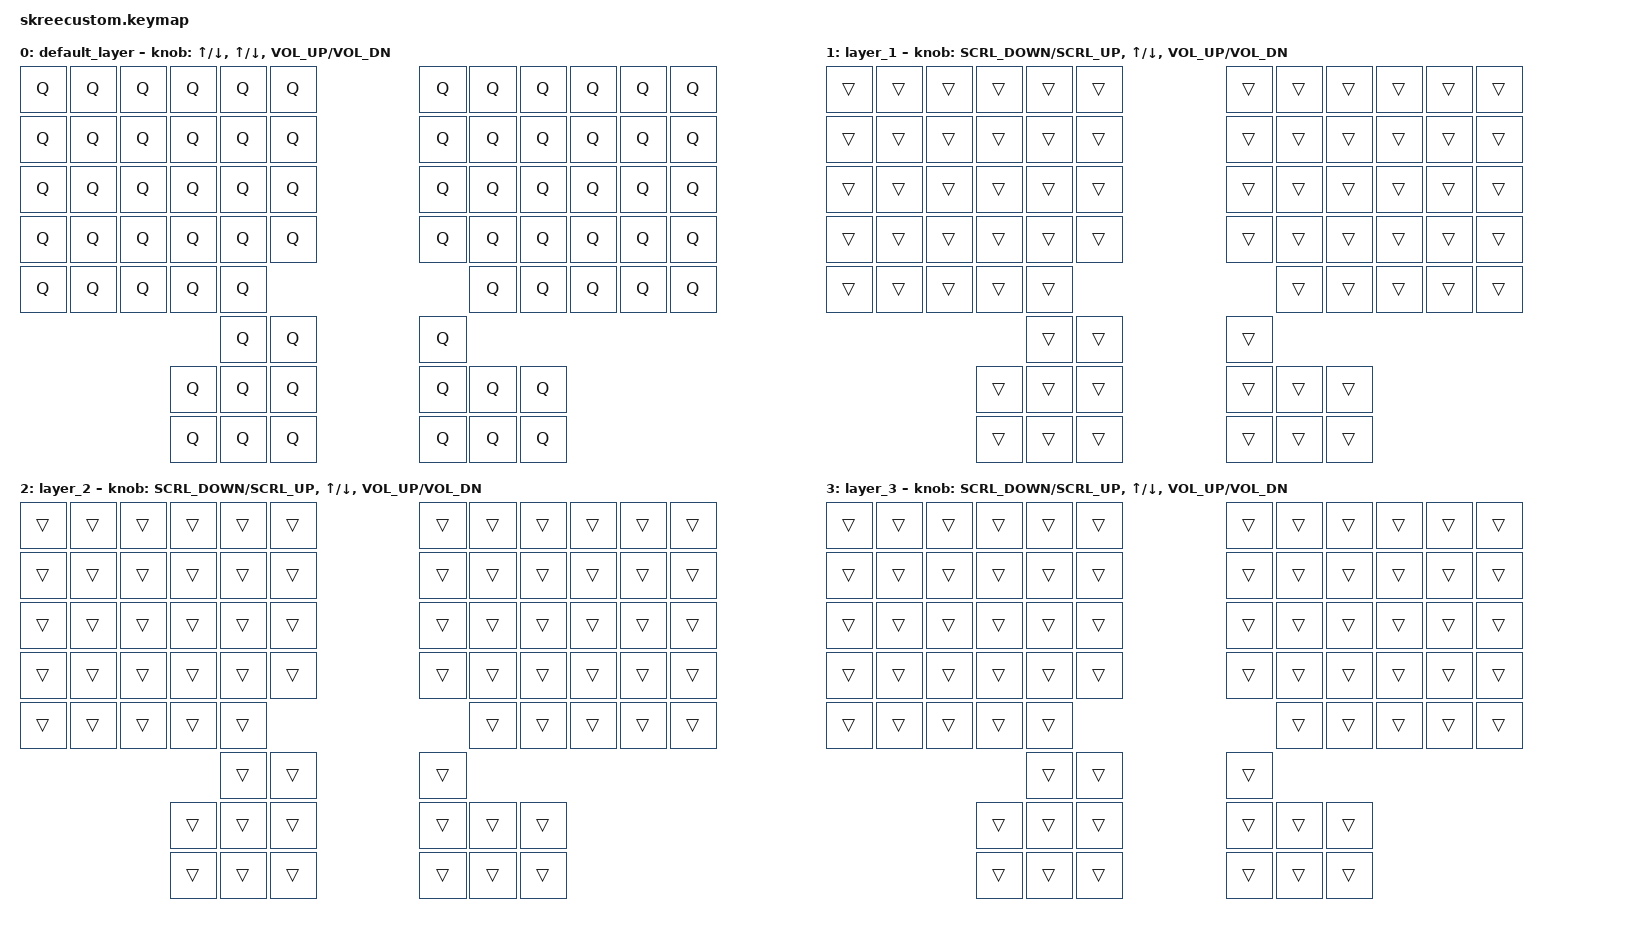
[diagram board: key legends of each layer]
/*
 * Copyright (c) 2020 The ZMK Contributors
 *
 * SPDX-License-Identifier: MIT
 */
//#include <behaviors/mouse_keys.dtsi>

#define ZMK_POINTING_DEFAULT_SCRL_VAL 140

#include <input/processors.dtsi>
#include <dt-bindings/zmk/input_transform.h>
#include <dt-bindings/zmk/mouse.h>
#include <behaviors.dtsi>
#include <dt-bindings/zmk/bt.h>
#include <dt-bindings/zmk/keys.h>
#include <dt-bindings/zmk/pointing.h>
#include <dt-bindings/zmk/rgb.h>

/ {
    behaviors {
        mouse_scroll: sensor_scroll {
            compatible = "zmk,behavior-sensor-rotate-var";
            #sensor-binding-cells = <2>;
            bindings = <&msc>, <&msc>;

            tap-ms = <5>;
        };
    };

    keymap {
        compatible = "zmk,keymap";

        default_layer {
            bindings = <
&kp Q   &kp Q   &kp Q   &kp Q   &kp Q   &kp Q                   &kp Q   &kp Q   &kp Q   &kp Q   &kp Q   &kp Q
&kp Q   &kp Q   &kp Q   &kp Q   &kp Q   &kp Q                   &kp Q   &kp Q   &kp Q   &kp Q   &kp Q   &kp Q
&kp Q   &kp Q   &kp Q   &kp Q   &kp Q   &kp Q                   &kp Q   &kp Q   &kp Q   &kp Q   &kp Q   &kp Q
&kp Q   &kp Q   &kp Q   &kp Q   &kp Q   &kp Q                   &kp Q   &kp Q   &kp Q   &kp Q   &kp Q   &kp Q
&kp Q   &kp Q   &kp Q   &kp Q   &kp Q                                   &kp Q   &kp Q   &kp Q   &kp Q   &kp Q

                                &kp Q   &kp Q                   &kp Q
                        &kp Q   &kp Q   &kp Q                   &kp Q   &kp Q   &kp Q   
                        &kp Q   &kp Q   &kp Q                   &kp Q   &kp Q   &kp Q
            >;

            sensor-bindings =
                <&inc_dec_kp UP_ARROW DOWN_ARROW>,
                <&inc_dec_kp UP_ARROW DOWN_ARROW>,
                <&inc_dec_kp C_VOL_UP C_VOL_DN>;
        };

        layer_1 {
            bindings = <
&trans   &trans   &trans   &trans   &trans   &trans                 &trans   &trans   &trans   &trans   &trans   &trans   
&trans   &trans   &trans   &trans   &trans   &trans                 &trans   &trans   &trans   &trans   &trans   &trans   
&trans   &trans   &trans   &trans   &trans   &trans                 &trans   &trans   &trans   &trans   &trans   &trans   
&trans   &trans   &trans   &trans   &trans   &trans                 &trans   &trans   &trans   &trans   &trans   &trans   
&trans   &trans   &trans   &trans   &trans                                   &trans   &trans   &trans   &trans   &trans  

                                    &trans   &trans                 &trans 
                           &trans   &trans   &trans                 &trans   &trans   &trans   
                           &trans   &trans   &trans                 &trans   &trans   &trans     
            >;

            sensor-bindings =
                <&mouse_scroll SCRL_DOWN SCRL_UP>,
                <&inc_dec_kp UP_ARROW DOWN_ARROW>,
                <&inc_dec_kp C_VOL_UP C_VOL_DN>;
        };

        layer_2 {
            bindings = <
&trans   &trans   &trans   &trans   &trans   &trans                 &trans   &trans   &trans   &trans   &trans   &trans   
&trans   &trans   &trans   &trans   &trans   &trans                 &trans   &trans   &trans   &trans   &trans   &trans   
&trans   &trans   &trans   &trans   &trans   &trans                 &trans   &trans   &trans   &trans   &trans   &trans   
&trans   &trans   &trans   &trans   &trans   &trans                 &trans   &trans   &trans   &trans   &trans   &trans   
&trans   &trans   &trans   &trans   &trans                                   &trans   &trans   &trans   &trans   &trans  

                                    &trans   &trans                 &trans 
                           &trans   &trans   &trans                 &trans   &trans   &trans   
                           &trans   &trans   &trans                 &trans   &trans   &trans   
            >;

            sensor-bindings =
                <&mouse_scroll SCRL_DOWN SCRL_UP>,
                <&inc_dec_kp UP_ARROW DOWN_ARROW>,
                <&inc_dec_kp C_VOL_UP C_VOL_DN>;
        };

        layer_3 {
            bindings = <
&trans   &trans   &trans   &trans   &trans   &trans                 &trans   &trans   &trans   &trans   &trans   &trans   
&trans   &trans   &trans   &trans   &trans   &trans                 &trans   &trans   &trans   &trans   &trans   &trans   
&trans   &trans   &trans   &trans   &trans   &trans                 &trans   &trans   &trans   &trans   &trans   &trans   
&trans   &trans   &trans   &trans   &trans   &trans                 &trans   &trans   &trans   &trans   &trans   &trans   
&trans   &trans   &trans   &trans   &trans                                   &trans   &trans   &trans   &trans   &trans  

                                    &trans   &trans                 &trans 
                           &trans   &trans   &trans                 &trans   &trans   &trans   
                           &trans   &trans   &trans                 &trans   &trans   &trans   
            >;

            sensor-bindings =
                <&mouse_scroll SCRL_DOWN SCRL_UP>,
                <&inc_dec_kp UP_ARROW DOWN_ARROW>,
                <&inc_dec_kp C_VOL_UP C_VOL_DN>;
        };
    };
};
